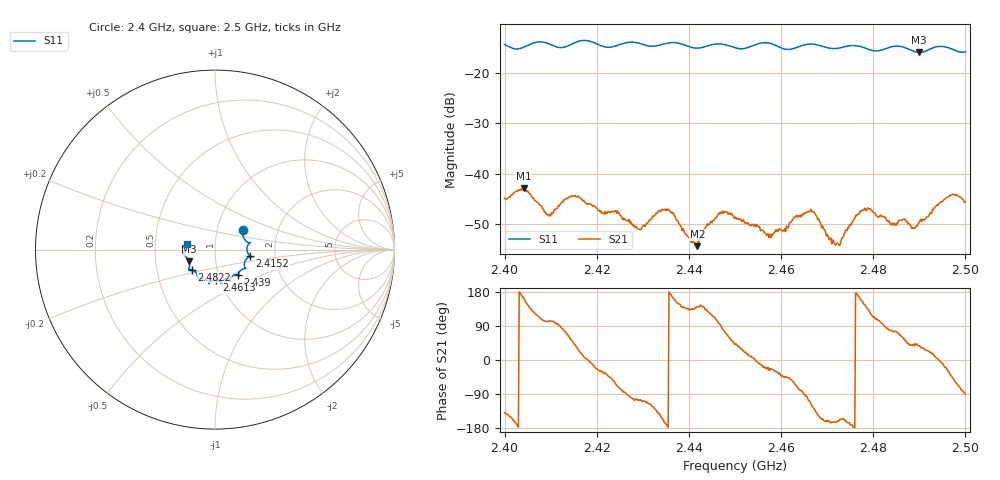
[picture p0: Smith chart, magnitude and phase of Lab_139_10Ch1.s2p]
# Hz S RI R 50
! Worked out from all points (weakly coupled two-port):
!   601 points, 2.4 GHz to 2.5 GHz, reference 50 ohm
!   highest |S21| = -42.84 dB at 2.4042 GHz (marker M1); lowest = -54.3 dB at 2.4418 GHz (marker M2)
!   lowest |S11| = -15.9 dB at 2.4898 GHz (marker M3), VSWR 1.38, Z = 37 - j5.01 ohm
!   |S11| at or under -10 dB: start of sweep to end of sweep
!   S12 and S22 are empty: the file has one direction only
!   S11 on the Smith chart (normalised r, x): 2.4 GHz: 1.33, +0.31; 2.4152 GHz: 1.48, -0.11; 2.439 GHz: 1.24, -0.36; 2.4613 GHz: 0.96, -0.34; 2.4822 GHz: 0.76, -0.17; 2.5 GHz: 0.73, +0.05
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2.4e9  0.1553 0.1115  -0.00432 -0.00375  0 0  0 0
2.404167e9  0.1735 0.0473  -0.00685 0.00224  0 0  0 0
2.4095e9  0.1916 0.036  -0.000728 0.00377  0 0  0 0
2.415167e9  0.1949 -0.0367  0.0045 0.00395  0 0  0 0
2.416667e9  0.2042 -0.0422  0.0054 0.00165  0 0  0 0
2.429167e9  0.166 -0.1056  -0.000745 -0.00273  0 0  0 0
2.433333e9  0.1324 -0.1319  -0.00314 -0.00279  0 0  0 0
2.436167e9  0.1349 -0.1468  -0.00406 0.000614  0 0  0 0
2.439e9  0.1284 -0.1389  -0.00201 0.00175  0 0  0 0
2.441833e9  0.1004 -0.1443  -0.00148 0.00123  0 0  0 0
2.446833e9  0.0859 -0.1732  -0.000169 0.00417  0 0  0 0
2.45e9  0.0691 -0.1636  0.00275 0.0024  0 0  0 0
2.457333e9  0.0396 -0.1936  0.00208 -0.00106  0 0  0 0
2.461333e9  0.00734 -0.1704  0.00204 -0.00212  0 0  0 0
2.466667e9  -0.0334 -0.1902  -0.00216 -0.00365  0 0  0 0
2.472167e9  -0.0676 -0.161  -0.00196 -0.000628  0 0  0 0
2.477667e9  -0.0963 -0.1518  -0.00392 0.00191  0 0  0 0
2.482167e9  -0.1284 -0.112  -0.000206 0.00379  0 0  0 0
2.483333e9  -0.1396 -0.1103  0.000596 0.00328  0 0  0 0
2.489833e9  -0.1457 -0.0659  0.00256 0.00197  0 0  0 0
2.496833e9  -0.1733 -0.0129  0.00474 -0.004  0 0  0 0
2.5e9  -0.1581 0.0334  3.28e-05 -0.00531  0 0  0 0
